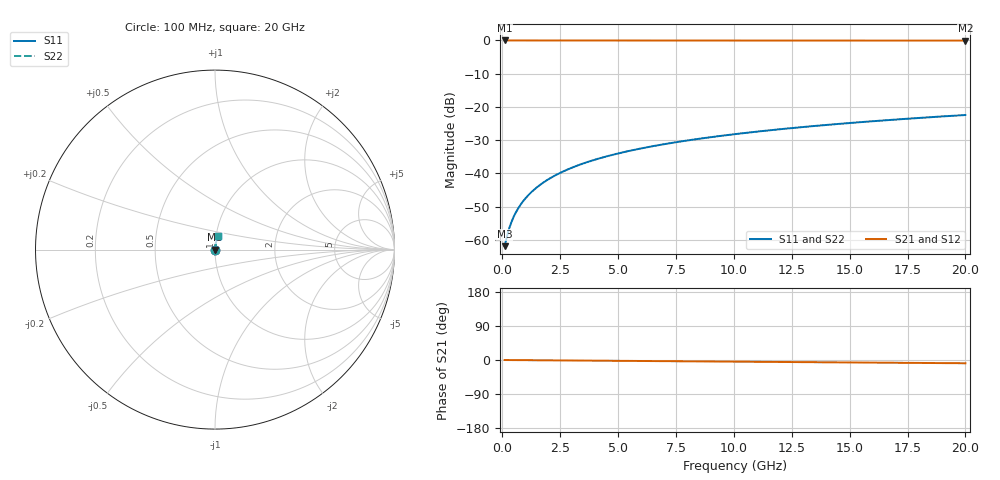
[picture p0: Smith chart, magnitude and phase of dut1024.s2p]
! Touchstone file exported from HFSS 2026.1.0
!  File:  C:/ffzhzh/LocalFiles/Ansys_Project_Files/temp_train_TMRDL_1024_1783159933_43440.aedt
!  Generated:  06:13:24 PM Jul  4, 2026
!  Design:  TMRDL
!  Project:  temp_train_TMRDL_1024_1783159933_43440
! Variables:
!  h_bsmrdl = 2um
!  h_ox = 20um
!  h_rdl = 5um
!  h_sub = 80um
!  h_tmrdl = 5.28um
!  h_tsv = 80um
!  h_via = 3um
!  l_bsmrdl = 300um
!  l_sub = 514.87um
!  l_tmrdl = 114.87um
!  m_sub = 200um
!  pitch = 30.13um
!  r_tsv = 6um
!  s_tmrdl = 10um
!  w_bsmrdl = 18um
!  w_sub = 500um
!  w_tmrdl = 14.26um
!  x_tsv_center1 = 122um
!  x_tsv_center2 = 440um
!  x_tsv_center3 = 569.13um
!  x_tsv_center4 = 887.13um
!  x_tsv_center5 = 1016.26um
!  x_tsv_center6 = 1334.26um
# GHz S MA R 50.000000
! Terminal data exported
! Port[1] = TM_RDL1_1_T1
! Port[2] = TM_RDL1_1_T2
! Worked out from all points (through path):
!   200 points, 100 MHz to 20 GHz, reference 50 ohm
!   highest |S21| = -0.01 dB at 100 MHz (marker M1); lowest = -0.1 dB at 20 GHz (marker M2)
!   group delay of S21, straight-line fit = 1.19 ps
!   lowest |S11| = -61.9 dB at 100 MHz (marker M3), VSWR 1.00, Z = 50.1 + j0.0449 ohm
!   |S11| at or under -10 dB: start of sweep to end of sweep
!   |S22| runs from -61.9 to -22.4 dB; largest |S21 - S12| = 2e-15
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0.1  0.0008007 34.0  0.9993 -0.0  0.9993 -0.0  0.0008007 34.0
! Gamma 0 0 0 0
! Port Impedance 50 0 50 0
0.2  0.001121 51.9  0.9993 -0.1  0.9993 -0.1  0.001121 51.9
0.3  0.001488 60.9  0.9993 -0.1  0.9993 -0.1  0.001488 60.9
0.4  0.001866 66.2  0.9992 -0.2  0.9992 -0.2  0.001866 66.2
0.5  0.002248 69.7  0.9992 -0.2  0.9992 -0.2  0.002248 69.7
0.6  0.002633 72.3  0.9992 -0.3  0.9992 -0.3  0.002633 72.3
0.8  0.003411 75.8  0.9992 -0.4  0.9992 -0.4  0.003411 75.8
1.1  0.004593 78.8  0.9991 -0.5  0.9991 -0.5  0.004593 78.8
1.3  0.005386 80.1  0.9991 -0.6  0.9991 -0.6  0.005386 80.1
1.6  0.006579 81.3  0.9991 -0.7  0.9991 -0.7  0.006579 81.3
2.1  0.008568 82.5  0.999 -0.9  0.999 -0.9  0.008568 82.5
2.7  0.01095 83.1  0.9989 -1.2  0.9989 -1.2  0.01095 83.1
3.5  0.01409 83.5  0.9987 -1.6  0.9987 -1.6  0.01409 83.5
4.2  0.01682 83.5  0.9985 -1.9  0.9985 -1.9  0.01682 83.5
5  0.0199 83.4  0.9983 -2.2  0.9983 -2.2  0.0199 83.4
5.9  0.02333 83.2  0.998 -2.6  0.998 -2.6  0.02333 83.2
6.8  0.02674 83.0  0.9978 -3.0  0.9978 -3.0  0.02674 83.0
8.3  0.03237 82.7  0.9974 -3.6  0.9974 -3.6  0.03237 82.7
10.1  0.03908 82.2  0.9969 -4.4  0.9969 -4.4  0.03908 82.2
13.4  0.05129 81.2  0.996 -5.8  0.996 -5.8  0.05129 81.2
16.7  0.06341 80.1  0.995 -7.2  0.995 -7.2  0.06341 80.1
20  0.07544 78.9  0.9938 -8.6  0.9938 -8.6  0.07544 78.9
